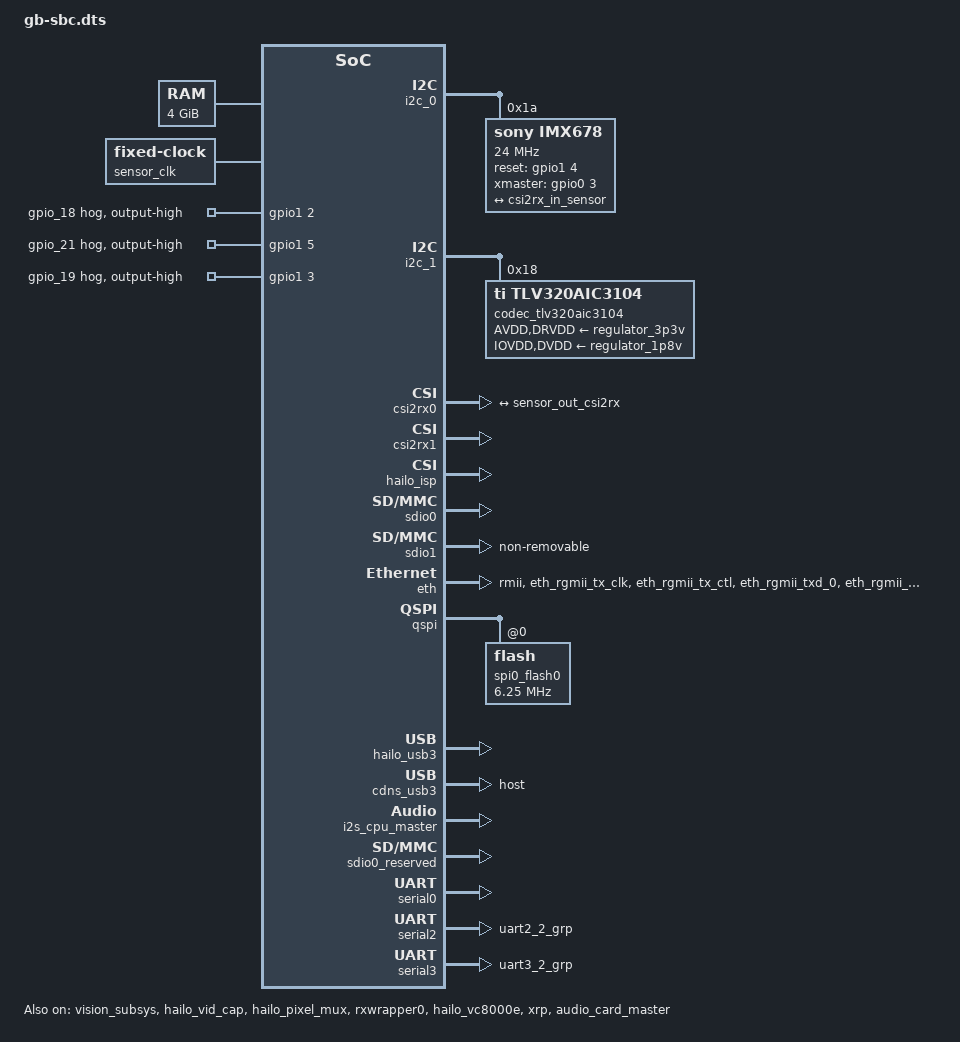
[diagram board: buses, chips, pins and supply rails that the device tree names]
// SPDX-License-Identifier:     GPL-2.0
/*
 * Copyright (c) 2019-2023 Hailo Technologies Ltd. All rights reserved.
 */

/dts-v1/;
#include "../hailo/hailo15-base.dtsi"
#include <dt-bindings/gpio/gpio.h>

/ {
    memory {
        device_type = "memory";
        reg = <0x00000000 0x80000000 0x00000001 0x00000000>;
    };
};

&i2c_0 {
    status = "ok";
    imx678: camera-sensor@1a {
        status = "ok";
        compatible = "sony,imx678";
        reg = <0x1a>;
        clocks = <&sensor_clk>;
        clock-names = "inclk";
        clock-frequency = <24000000>;
        csi-id = <0>;
        reset-gpios = <&gpio1 4 GPIO_ACTIVE_HIGH>;
        xmaster-gpios = <&gpio0 3 GPIO_ACTIVE_HIGH>;
        port {
            sensor_out_csi2rx: endpoint {
                data-lanes = <1 2 3 4>;
                remote-endpoint = <&csi2rx_in_sensor>;
		        link-frequencies = /bits/ 64 <891000000 1440000000 1782000000>;
            };
        };
     };
};

&i2c_1 {
    status = "ok";
    // ina231_1v8: 1v8@40 {
    //     compatible = "ti,ina231_precise";
    //     reg = <0x40>;
    //     shunt-resistor = <100000>;
    //     max-current = <260>;
    // };
    // ina231_DDR_VDDQX: DDR_VDDQX@42 {
    //     compatible = "ti,ina231_precise";
    //     reg = <0x42>;
    //     shunt-resistor = <100000>;
    //     max-current = <170>;
    // };
    // ina231_0v8: 0v8@43 {
    //     compatible = "ti,ina231_precise";
    //     reg = <0x43>;
    //     shunt-resistor = <1000>;
    //     max-current = <11755>;
    // };

    // tmp175_NEAR_H15_SOC: NEAR_H15_SOC@2c {
    //     compatible = "ti,tmp175";
    //     reg = <0x2c>;
    // };

    codec_tlv320aic3104: tlv320aic3104@18 {
        #sound-dai-cells = <0>;
        compatible = "ti,tlv320aic3104";
        reg = <0x18>;
        ai3x-source-clk = "bclk";
        ai3x-micbias-vg = <2>;
		/* Regulators */
		AVDD-supply = <&regulator_3p3v>;
		IOVDD-supply = <&regulator_1p8v>;
		DRVDD-supply = <&regulator_3p3v>;
		DVDD-supply = <&regulator_1p8v>;
    };
};

&csi2rx0 {
    status = "ok";
    ports {
        port@0 {
            csi2rx_in_sensor: endpoint {
                remote-endpoint = <&sensor_out_csi2rx>;
            };
        };
    };
};

&vision_subsys {
    status = "okay";
};

&csi2rx1 {
    status = "ok";
};

&hailo_vid_cap {
    status = "ok";
};

&hailo_isp {
    status = "ok";
};

&hailo_pixel_mux {
    status = "ok";
};

&rxwrapper0 {
    status = "ok";
};

&hailo_vc8000e {
    status = "ok";
};

&vc8000e_reserved {
    status = "ok";
};

&xrp {
    status = "okay";
};

&xrp_reserved {
    status = "okay";
};

&sdio0 {
    status = "ok";
    broken-cd;
    sdhci-caps= <0 0x01000000>; // Force VOLT33 capability
    phy-config {
		card-is-emmc = <0x0>;
		cmd-pad-values = <0x1 0x3 0x1 0x1>; // txslew_ctrl_n, txslew_ctrl_p, weakpull_enable, rxsel
        	dat-pad-values = <0x1 0x3 0x1 0x1>; // txslew_ctrl_n, txslew_ctrl_p, weakpull_enable, rxsel
        	rst-pad-values = <0x1 0x3 0x1 0x1>; // txslew_ctrl_n, txslew_ctrl_p, weakpull_enable, rxsel
        	clk-pad-values = <0x1 0x3 0x0 0x1>; // txslew_ctrl_n, txslew_ctrl_p, weakpull_enable, rxsel
        	sdclkdl-cnfg = <0x0 0x32>; //extdly_en, cckdl_dc
        	drive-strength = <0xC 0xC>; //pad_sp, pad_sn
    };
};
&sdio1 {
    status = "ok";
    non-removable;
    phy-config {
		card-is-emmc = <0x1>;
        	cmd-pad-values = <0x2 0x2 0x1 0x1>; // txslew_ctrl_n, txslew_ctrl_p, weakpull_enable, rxsel
        	dat-pad-values = <0x2 0x2 0x1 0x1>; // txslew_ctrl_n, txslew_ctrl_p, weakpull_enable, rxsel
        	rst-pad-values = <0x2 0x2 0x1 0x1>; // txslew_ctrl_n, txslew_ctrl_p, weakpull_enable, rxsel
        	clk-pad-values = <0x2 0x2 0x0 0x0>; // txslew_ctrl_n, txslew_ctrl_p, weakpull_enable, rxsel
        	sdclkdl-cnfg = <0x0 0x32>; //extdly_en, cckdl_dc
        	drive-strength = <0xC 0xC>; //pad_sp, pad_sn
        };
};

&eth {
    status = "ok";
    pinctrl-names = "default";
    pinctrl-0 = <&pinctrl_eth>;
    phy-mode = "rmii";
};

&qspi {
    status = "ok";

    spi0_flash0: flash@0 {
        /* values for MT25QU01G */
        spi-max-frequency = <6250000>; /* 90Mhz in DTR, 166Mhz in STR */
        cdns,read-delay = <7>;
        cdns,tshsl-ns = <30>;
        cdns,tsd2d-ns = <30>;
        cdns,tchsh-ns = <5>;
        cdns,tslch-ns = <3>;
    };
};

&hailo_usb3 {
    status = "okay";
    disconnected-overcurrent;
};

&cdns_usb3 {
    dr_mode = "host";
    maximum-speed = "high-speed";
};


&i2s_cpu_master {
    status = "okay";
    rx-sample-pace-pattern-repetitions = <2>;
    rx-sample-pace = <64 64 64>;
    rx-sample-cmp-to = "prev-val";
    tx-sample-offset = <81>;
    tx-sample-pace = <63>;
};

&audio_card_master {
    status = "ok";
    simple-audio-card,bitclock-master = <&cpu_dai_master>;
    simple-audio-card,frame-master = <&cpu_dai_master>;

    cpu_dai_master: simple-audio-card,cpu {
        sound-dai = <&i2s_cpu_master>;
        system-clock-frequency = <1562500>;
        system-clock-direction-out;
    };
    codec_dai_master: simple-audio-card,codec {
        sound-dai = <&codec_tlv320aic3104>;
        system-clock-frequency = <1562500>;
    };
};

&audio_card_slave_tx {
    simple-audio-card,bitclock-master = <&codec_dai_tx>;
    simple-audio-card,frame-master = <&codec_dai_tx>;

    cpu_dai_tx: simple-audio-card,cpu {
        sound-dai = <&i2s_cpu_slave_tx>;
        system-clock-frequency = <12288000>;
    };
    codec_dai_tx: simple-audio-card,codec {
        sound-dai = <&codec_tlv320aic3104>;
        system-clock-frequency = <12288000>;
    };
};

&audio_card_slave_rx {
    simple-audio-card,bitclock-master = <&codec_dai_rx>;
    simple-audio-card,frame-master = <&codec_dai_rx>;

    cpu_dai_rx: simple-audio-card,cpu {
        sound-dai = <&i2s_cpu_slave_rx>;
        system-clock-frequency = <12288000>;
    };
    codec_dai_rx: simple-audio-card,codec {
        sound-dai = <&codec_tlv320aic3104>;
        system-clock-frequency = <12288000>;
    };
};

/ {
    sensor_clk: sensor_clk {
        compatible = "fixed-clock";
        #clock-cells = <0>;
        clock-frequency = <24000000>;
    };
};

&sdio0_reserved {
    status = "ok";
};

&serial0 { 
 status = "ok"; 
};

&serial2 {
    status = "ok";
    pinctrl-names = "default";
    pinctrl-0 = <&pinctrl_uart2>;
};

&serial3 {
    status = "ok";
    pinctrl-names = "default";
    pinctrl-0 = <&pinctrl_uart3>;
};

&pinctrl {

    pinctrl_eth: eth {
        pins = "eth_rgmii_tx_clk",
               "eth_rgmii_tx_ctl",
               "eth_rgmii_txd_0",
               "eth_rgmii_txd_1",
               "eth_rgmii_txd_2",
               "eth_rgmii_txd_3";
        drive-strength = <2>;
    };

    pinctrl_uart2: uart2 {
        function = "uart2";
        groups = "uart2_2_grp";	
    };

    pinctrl_uart3: uart3 { 
        function = "uart3";
        groups = "uart3_2_grp";
    };

};

&gpio0 {
    gpio-ranges = <&pinctrl 0 0 16>;

    gpio-line-names =
        "NC",
        "NC",
        "NC",
        "NC",
        "SEN_MCU_RX",
        "MCU_ZB_RX",
        "SEN_MCU_TX",
        "MCU_ZB_TX",
        "NC",
        "SD_SEL",
        "MCU_TCK",
        "MCU_TDIO_RST_N",
        "NC",
        "ZIGBEE_RST_N",
        "NC",
        "NC";
};

&gpio1 {
    gpio-ranges = <&pinctrl 0 16 16>;

    gpio-line-names =
        "IP_ID0",
        "IP_ID1",
        "AUD_RST_N",
        "AUD_EN",
        "SEN_RST_N",
        "ETH_RST_N",
        "NC",
        "NR_ON_OFF",
        "GYRO_INT_N",
        "NC",
        "NC",
        "NC",
        "NC",
        "TCK_RTSn_SoC",
        "TDIO_DTRn_SoC",
        "NC";

    audio_rst_n {

        gpio-hog;

        gpios = <2 GPIO_ACTIVE_HIGH>;

        output-high;

        line-name = "gpio_18";

    };

    eth_rst_n {

        gpio-hog;

        gpios = <5 GPIO_ACTIVE_HIGH>;

        output-high;

        line-name = "gpio_21";

    };

    //Temp solution to control the power of audio EN which is also used for ethernet power, this is is to prevent HW work around only.
    aud_eth_power_n {

        gpio-hog;

        gpios = <3 GPIO_ACTIVE_HIGH>;

        output-high;

        line-name = "gpio_19";

    };

};
